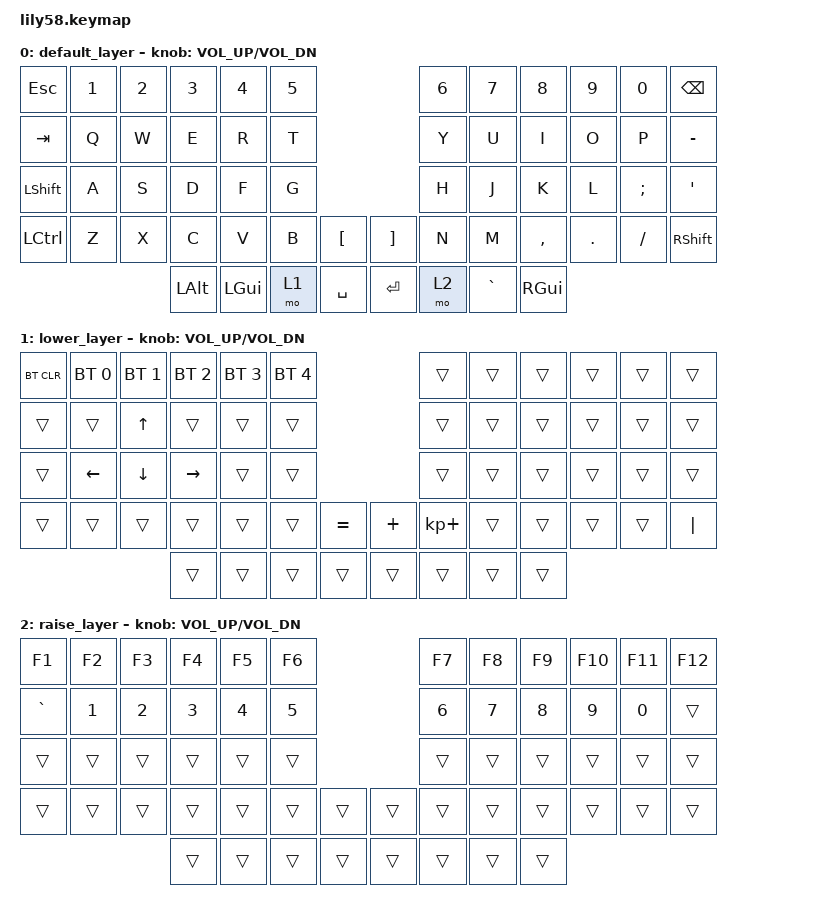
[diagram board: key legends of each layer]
/*
 * Copyright (c) 2020 The ZMK Contributors
 *
 * SPDX-License-Identifier: MIT
 */

#include <behaviors.dtsi>
#include <dt-bindings/zmk/bt.h>
#include <dt-bindings/zmk/keys.h>

/ {
    keymap {
        compatible = "zmk,keymap";

        default_layer {
            // ------------------------------------------------------------------------------------------------------------
            // |  ESC  |  1  |  2  |  3   |  4   |  5   |                   |  6   |  7    |  8    |  9   |   0   |   `   |
            // |  TAB  |  Q  |  W  |  E   |  R   |  T   |                   |  Y   |  U    |  I    |  O   |   P   |   -   |
            // |  CTRL |  A  |  S  |  D   |  F   |  G   |                   |  H   |  J    |  K    |  L   |   ;   |   '   |
            // | SHIFT |  Z  |  X  |  C   |  V   |  B   |   "["  |  |  "]"  |  N   |  M    |  ,    |  .   |   /   | SHIFT |
            //                     | ALT  | GUI  | LOWER|  SPACE |  | ENTER | RAISE| BSPC  | GUI   |

            bindings = <
&kp ESC    &kp N1  &kp N2  &kp N3    &kp N4    &kp N5                         &kp N6  &kp N7     &kp N8     &kp N9   &kp N0    &kp BSPC
&kp TAB    &kp Q   &kp W   &kp E     &kp R     &kp T                          &kp Y   &kp U      &kp I      &kp O    &kp P     &kp MINUS
&kp LSHFT  &kp A   &kp S   &kp D     &kp F     &kp G                          &kp H   &kp J      &kp K      &kp L    &kp SEMI  &kp SQT
&kp LCTRL  &kp Z   &kp X   &kp C     &kp V     &kp B   &kp LBKT     &kp RBKT  &kp N   &kp M      &kp COMMA  &kp DOT  &kp FSLH  &kp RSHFT
                           &kp LALT  &kp LGUI  &mo 1   &kp SPACE    &kp RET   &mo 2   &kp GRAVE  &kp RGUI
            >;

            sensor-bindings = <&inc_dec_kp C_VOL_UP C_VOL_DN>;
        };

        lower_layer {
            // ------------------------------------------------------------------------------------------------------------
            // | BTCLR | BT1 | BT2 |  BT3 |  BT4 |  BT5 |                   |      |       |       |      |       |       |
            // |  F1   |  F2 |  F3 |  F4  |  F5  |  F6  |                   |  F7  |  F8   |  F9   |  F10 |  F11  |  F12  |
            // |   `   |  !  |  @  |  #   |  $   |  %   |                   |  ^   |  &    |  *    |  (   |   )   |   ~   |
            // |       |     |     |      |      |      |        |  |       |      |  _    |  +    |  {   |   }   |  "|"  |
            //                     |      |      |      |        |  |       |      |       |       |

            bindings = <
&bt BT_CLR  &bt BT_SEL 0  &bt BT_SEL 1  &bt BT_SEL 2  &bt BT_SEL 3  &bt BT_SEL 4                         &trans       &trans  &trans  &trans  &trans  &trans
&trans      &trans        &kp UP        &trans        &trans        &trans                               &trans       &trans  &trans  &trans  &trans  &trans
&trans      &kp LEFT      &kp DOWN      &kp RIGHT     &trans        &trans                               &trans       &trans  &trans  &trans  &trans  &trans
&trans      &trans        &trans        &trans        &trans        &trans        &kp EQUAL    &kp PLUS  &kp KP_PLUS  &trans  &trans  &trans  &trans  &kp PIPE
                                        &trans        &trans        &trans        &trans       &trans    &trans       &trans  &trans
            >;

            sensor-bindings = <&inc_dec_kp C_VOL_UP C_VOL_DN>;
        };

        raise_layer {
            // ------------------------------------------------------------------------------------------------------------
            // |       |     |     |      |      |      |                   |      |       |       |      |       |       |
            // |   `   |  1  |  2  |  3   |  4   |  5   |                   |  6   |   7   |   8   |  9   |   0   |       |
            // |   F1  |  F2 |  F3 |  F4  |  F5  |  F6  |                   |      |   <-  |   v   |  ^   |  ->   |       |
            // |   F7  |  F8 |  F9 |  F10 |  F11 |  F12 |        |  |       |  +   |   -   |   =   |  [   |   ]   |   \   |
            //                     |      |      |      |        |  |       |      |       |       |

            bindings = <
&kp F1     &kp F2  &kp F3  &kp F4  &kp F5  &kp F6                    &kp F7  &kp F8  &kp F9  &kp F10  &kp F11  &kp F12
&kp GRAVE  &kp N1  &kp N2  &kp N3  &kp N4  &kp N5                    &kp N6  &kp N7  &kp N8  &kp N9   &kp N0   &trans
&trans     &trans  &trans  &trans  &trans  &trans                    &trans  &trans  &trans  &trans   &trans   &trans
&trans     &trans  &trans  &trans  &trans  &trans  &trans    &trans  &trans  &trans  &trans  &trans   &trans   &trans
                           &trans  &trans  &trans  &trans    &trans  &trans  &trans  &trans
            >;

            sensor-bindings = <&inc_dec_kp C_VOL_UP C_VOL_DN>;
        };
    };
};
